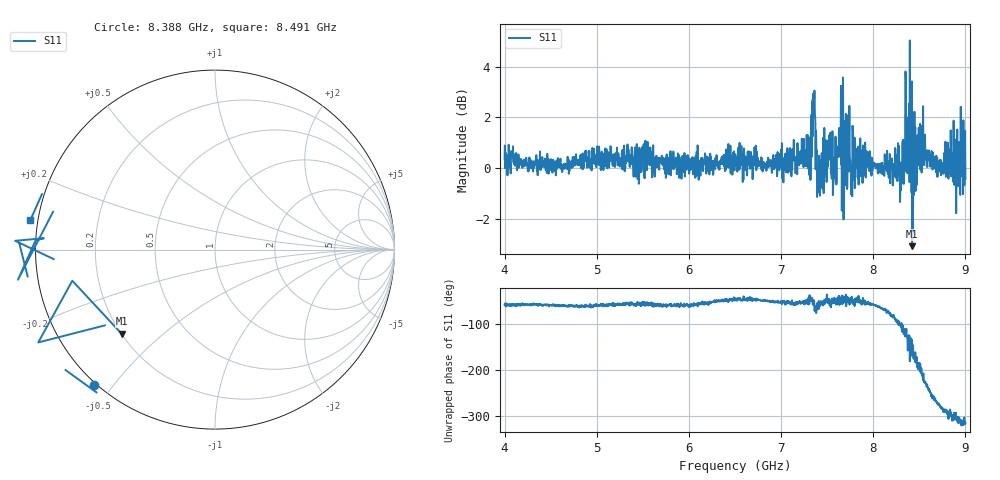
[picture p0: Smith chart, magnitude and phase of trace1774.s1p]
! Created with skrf 1.8.0 (http://scikit-rf.org).
# Hz S RI R 50.0
!freq ReS11 ImS11
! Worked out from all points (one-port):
!   1601 points, 4 GHz to 9 GHz, reference 50 ohm
!   lowest |S11| = -3.1 dB at 8.422 GHz (marker M1), VSWR 5.67, Z = 10.1 - j18.5 ohm
!   |S11| at or under -10 dB: nowhere
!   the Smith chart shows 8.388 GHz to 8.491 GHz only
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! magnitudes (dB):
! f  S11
! 4 GHz  0.4
! 4.625 GHz  -0.2
! 5.25 GHz  0.1
! 5.875 GHz  0.0
! 6.5 GHz  0.6
! 7.125 GHz  0.7
! 7.297 GHz  0.4
! 7.347 GHz  2.7
! 7.362 GHz  3.1
! 7.397 GHz  -0.2
! 7.412 GHz  0.5
! 7.534 GHz  1.4
! 7.588 GHz  0.1
! 7.65 GHz  3.3
! 7.75 GHz  0.3
! 7.775 GHz  1.7
! 7.8 GHz  -0.8
! 8.262 GHz  -0.5
! 8.316 GHz  0.2
! 8.328 GHz  -0.5
! 8.375 GHz  2.0
! 8.422 GHz  -3.1
! 8.447 GHz  2.2
! 8.459 GHz  -0.9
! 8.519 GHz  1.0
! 8.722 GHz  0.1
! 8.953 GHz  -0.3
! 9 GHz  -0.4
